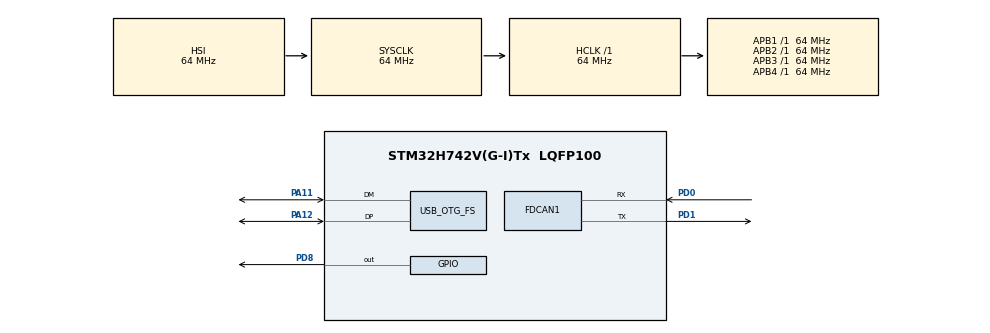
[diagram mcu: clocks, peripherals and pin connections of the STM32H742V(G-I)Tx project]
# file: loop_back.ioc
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FDCAN1.AutoRetransmission=ENABLE
FDCAN1.CalculateBaudRateNominal=1000000
FDCAN1.CalculateTimeBitNominal=1000
FDCAN1.CalculateTimeQuantumNominal=20.0
FDCAN1.DataPrescaler=10
FDCAN1.DataTimeSeg1=3
FDCAN1.DataTimeSeg2=1
FDCAN1.FrameFormat=FDCAN_FRAME_FD_NO_BRS
FDCAN1.Mode=FDCAN_MODE_NORMAL
FDCAN1.NominalPrescaler=1
FDCAN1.NominalSyncJumpWidth=7
FDCAN1.NominalTimeSeg1=42
FDCAN1.NominalTimeSeg2=7
FDCAN1.RxFifo0ElmtSize=FDCAN_DATA_BYTES_12
FDCAN1.RxFifo0ElmtsNbr=64
FDCAN1.StdFiltersNbr=1
FDCAN1.TxBuffersNbr=0
FDCAN1.TxElmtSize=FDCAN_DATA_BYTES_12
FDCAN1.TxFifoQueueElmtsNbr=1
Mcu.Family=STM32H7
Mcu.Name=STM32H742V(G-I)Tx
Mcu.Package=LQFP100
NVIC.FDCAN1_IT0_IRQn=true\:0\:0\:false\:false\:true\:true\:true\:true
NVIC.FDCAN1_IT1_IRQn=true\:0\:0\:false\:false\:true\:true\:true\:true
NVIC.OTG_FS_IRQn=true\:0\:0\:false\:false\:true\:false\:true\:true
NVIC.PriorityGroup=NVIC_PRIORITYGROUP_4
NVIC.TIM8_TRG_COM_TIM14_IRQn=true\:0\:0\:false\:false\:true\:true\:true\:true
PA11.Mode=Device_Only
PA11.Signal=USB_OTG_FS_DM
PA12.Mode=Device_Only
PA12.Signal=USB_OTG_FS_DP
PC14-OSC32_IN\ (OSC32_IN).Mode=LSE-External-Oscillator
PC14-OSC32_IN\ (OSC32_IN).Signal=RCC_OSC32_IN
PC15-OSC32_OUT\ (OSC32_OUT).Mode=LSE-External-Oscillator
PC15-OSC32_OUT\ (OSC32_OUT).Signal=RCC_OSC32_OUT
PD0.Mode=FDCAN_Activate
PD0.Signal=FDCAN1_RX
PD1.Mode=FDCAN_Activate
PD1.Signal=FDCAN1_TX
PD8.Signal=GPIO_Output
PH0-OSC_IN\ (PH0).Mode=HSE-External-Oscillator
PH0-OSC_IN\ (PH0).Signal=RCC_OSC_IN
PH1-OSC_OUT\ (PH1).Mode=HSE-External-Oscillator
PH1-OSC_OUT\ (PH1).Signal=RCC_OSC_OUT
ProjectManager.HeapSize=0x200
ProjectManager.StackSize=0x400
ProjectManager.TargetToolchain=STM32CubeIDE
RCC.ADCFreq_Value=50390625
RCC.APB1Freq_Value=64000000
RCC.APB2Freq_Value=64000000
RCC.APB3Freq_Value=64000000
RCC.APB4Freq_Value=64000000
RCC.CortexFreq_Value=64000000
RCC.DIVM1=2
RCC.DIVN1=12
RCC.DIVQ1=3
RCC.HCLKFreq_Value=64000000
RCC.HSE_VALUE=25000000
RCC.PLL2FRACN=0
RCC.PLL3FRACN=0
RCC.PLLFRACN=0
RCC.PLLSourceVirtual=RCC_PLLSOURCE_HSE
RCC.SYSCLKFreq_VALUE=64000000
RCC.USBCLockSelection=RCC_USBCLKSOURCE_HSI48
RCC.USBFreq_Value=48000000
TIM14.Period=1000
TIM14.Prescaler=63
USB_DEVICE.CLASS_NAME_FS=CDC
USB_DEVICE.PRODUCT_STRING_CDC_FS=STM32 Virtual Port
USB_DEVICE.VirtualMode-CDC_FS=Cdc
USB_DEVICE.VirtualModeFS=Cdc_FS
USB_OTG_FS.VirtualMode=Device_Only
VP_RNG_VS_RNG.Mode=RNG_Activate
VP_TIM14_VS_ClockSourceINT.Mode=Enable_Timer
VP_USB_DEVICE_VS_USB_DEVICE_CDC_FS.Mode=CDC_FS
board=custom

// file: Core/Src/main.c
/* USER CODE BEGIN Header */
/**
  ******************************************************************************
  * @file           : main.c
  * @brief          : Main program body
  ******************************************************************************
  * @attention
  *
  * Copyright (c) 2024 STMicroelectronics.
  * All rights reserved.
  *
  * This software is licensed under terms that can be found in the LICENSE file
  * in the root directory of this software component.
  * If no LICENSE file comes with this software, it is provided AS-IS.
  *
  ******************************************************************************
  */
/* USER CODE END Header */
#include "main.h"
#include "usb_device.h"

/* USER CODE BEGIN Includes */
#include <stdio.h>
#include <stdlib.h>
#include <time.h>
#include "CO_app_STM32.h"
#include "CANopen.h"
#include "OD.h"
#include "../CANopenNode/301/CO_driver.h"

#include "CO_app_user.h"
#include "usb_cdc.h"
/* USER CODE END Includes */

FDCAN_HandleTypeDef hfdcan1;

RNG_HandleTypeDef hrng;

TIM_HandleTypeDef htim14;

void SystemClock_Config(void);
static void MX_GPIO_Init(void);
static void MX_FDCAN1_Init(void);
static void MX_TIM14_Init(void);
static void MX_RNG_Init(void);

/* USER CODE BEGIN 0 */
char usb_buffer[100];
uint8_t usb_len;
uint8_t usb_flag= 0;

uint32_t tmp = 0x00;
uint8_t amount_read = 0;
/* Timer interrupt function executes every 1 ms */
void
HAL_TIM_PeriodElapsedCallback(TIM_HandleTypeDef* htim) {
    if (htim == canopenNodeSTM32->timerHandle) {
        canopen_app_interrupt();
    }
}

void HAL_FDCAN_RxFifo0Callback(FDCAN_HandleTypeDef* hfdcan, uint32_t RxFifo0ITs);
/* USER CODE END 0 */

int main(void)
{

  /* MCU Configuration--------------------------------------------------------*/

  /* Reset of all peripherals, Initializes the Flash interface and the Systick. */
  HAL_Init();

  /* Configure the system clock */
  SystemClock_Config();

  /* Initialize all configured peripherals */
  MX_GPIO_Init();
  MX_FDCAN1_Init();
  MX_TIM14_Init();
  MX_RNG_Init();
  MX_USB_DEVICE_Init();
  /* USER CODE BEGIN 2 */
  CANopenNodeSTM32 canopenNode_1;

  canopen_app_user_init(&canopenNode_1,
  							&hfdcan1,
							&MX_FDCAN1_Init,
							&htim14);

canopen_app_user_config(&canopenNode_1);
//read_SDO(canopenNode_1.canOpenStack->SDOclient, 0x01, 0x1000, 0x00, &tmp, 4, &amount_read);
//HAL_Delay(30);
//read_SDO(canopenNode_1.canOpenStack->SDOclient, 2, 0x6081, 0x00	, &tmp, 4, &amount_read);
//HAL_Delay(30);
//read_SDO(canopenNode_1.canOpenStack->SDOclient, 1, 0x6060, 0x00	, &tmp, 1, &amount_read);
//HAL_Delay(30);
  /* USER CODE END 2 */

  /* Infinite loop */
  while (1)
  {

    /* USER CODE BEGIN 3 */
	  canopen_app_process();
	  CO_PDO_execute(&canopenNode_1);

//	  HAL_GPIO_TogglePin(GPIOD, GPIO_PIN_8);
//	  response_print("number: %d %s\n", 23, "hieu");
//	  response_print("number: %d %s\n", 24, "vu minh hieu");
//	  response_print("number: %d %s\n", 23, "hieu");
//	  response_print("number: %d %s\n", 24, "vu minh hieu");
  }
  /* USER CODE END 3 */
}

void SystemClock_Config(void)
{
  RCC_OscInitTypeDef RCC_OscInitStruct = {0};
  RCC_ClkInitTypeDef RCC_ClkInitStruct = {0};

  /** Supply configuration update enable
  */
  HAL_PWREx_ConfigSupply(PWR_LDO_SUPPLY);

  /** Configure the main internal regulator output voltage
  */
  __HAL_PWR_VOLTAGESCALING_CONFIG(PWR_REGULATOR_VOLTAGE_SCALE3);

  while(!__HAL_PWR_GET_FLAG(PWR_FLAG_VOSRDY)) {}

  /** Initializes the RCC Oscillators according to the specified parameters
  * in the RCC_OscInitTypeDef structure.
  */
  RCC_OscInitStruct.OscillatorType = RCC_OSCILLATORTYPE_HSI48|RCC_OSCILLATORTYPE_HSI
                              |RCC_OSCILLATORTYPE_HSE;
  RCC_OscInitStruct.HSEState = RCC_HSE_ON;
  RCC_OscInitStruct.HSIState = RCC_HSI_DIV1;
  RCC_OscInitStruct.HSICalibrationValue = RCC_HSICALIBRATION_DEFAULT;
  RCC_OscInitStruct.HSI48State = RCC_HSI48_ON;
  RCC_OscInitStruct.PLL.PLLState = RCC_PLL_ON;
  RCC_OscInitStruct.PLL.PLLSource = RCC_PLLSOURCE_HSE;
  RCC_OscInitStruct.PLL.PLLM = 2;
  RCC_OscInitStruct.PLL.PLLN = 12;
  RCC_OscInitStruct.PLL.PLLP = 2;
  RCC_OscInitStruct.PLL.PLLQ = 3;
  RCC_OscInitStruct.PLL.PLLR = 2;
  RCC_OscInitStruct.PLL.PLLRGE = RCC_PLL1VCIRANGE_3;
  RCC_OscInitStruct.PLL.PLLVCOSEL = RCC_PLL1VCOMEDIUM;
  RCC_OscInitStruct.PLL.PLLFRACN = 0;
  if (HAL_RCC_OscConfig(&RCC_OscInitStruct) != HAL_OK)
  {
    Error_Handler();
  }

  /** Initializes the CPU, AHB and APB buses clocks
  */
  RCC_ClkInitStruct.ClockType = RCC_CLOCKTYPE_HCLK|RCC_CLOCKTYPE_SYSCLK
                              |RCC_CLOCKTYPE_PCLK1|RCC_CLOCKTYPE_PCLK2
                              |RCC_CLOCKTYPE_D3PCLK1|RCC_CLOCKTYPE_D1PCLK1;
  RCC_ClkInitStruct.SYSCLKSource = RCC_SYSCLKSOURCE_HSI;
  RCC_ClkInitStruct.SYSCLKDivider = RCC_SYSCLK_DIV1;
  RCC_ClkInitStruct.AHBCLKDivider = RCC_HCLK_DIV1;
  RCC_ClkInitStruct.APB3CLKDivider = RCC_APB3_DIV1;
  RCC_ClkInitStruct.APB1CLKDivider = RCC_APB1_DIV1;
  RCC_ClkInitStruct.APB2CLKDivider = RCC_APB2_DIV1;
  RCC_ClkInitStruct.APB4CLKDivider = RCC_APB4_DIV1;

  if (HAL_RCC_ClockConfig(&RCC_ClkInitStruct, FLASH_LATENCY_1) != HAL_OK)
  {
    Error_Handler();
  }
}

static void MX_FDCAN1_Init(void)
{

  hfdcan1.Instance = FDCAN1;
  hfdcan1.Init.FrameFormat = FDCAN_FRAME_FD_NO_BRS;
  hfdcan1.Init.Mode = FDCAN_MODE_NORMAL;
  hfdcan1.Init.AutoRetransmission = ENABLE;
  hfdcan1.Init.TransmitPause = DISABLE;
  hfdcan1.Init.ProtocolException = DISABLE;
  hfdcan1.Init.NominalPrescaler = 1;
  hfdcan1.Init.NominalSyncJumpWidth = 7;
  hfdcan1.Init.NominalTimeSeg1 = 42;
  hfdcan1.Init.NominalTimeSeg2 = 7;
  hfdcan1.Init.DataPrescaler = 10;
  hfdcan1.Init.DataSyncJumpWidth = 1;
  hfdcan1.Init.DataTimeSeg1 = 3;
  hfdcan1.Init.DataTimeSeg2 = 1;
  hfdcan1.Init.MessageRAMOffset = 0;
  hfdcan1.Init.StdFiltersNbr = 1;
  hfdcan1.Init.ExtFiltersNbr = 0;
  hfdcan1.Init.RxFifo0ElmtsNbr = 64;
  hfdcan1.Init.RxFifo0ElmtSize = FDCAN_DATA_BYTES_12;
  hfdcan1.Init.RxFifo1ElmtsNbr = 0;
  hfdcan1.Init.RxFifo1ElmtSize = FDCAN_DATA_BYTES_8;
  hfdcan1.Init.RxBuffersNbr = 0;
  hfdcan1.Init.RxBufferSize = FDCAN_DATA_BYTES_8;
  hfdcan1.Init.TxEventsNbr = 0;
  hfdcan1.Init.TxBuffersNbr = 0;
  hfdcan1.Init.TxFifoQueueElmtsNbr = 1;
  hfdcan1.Init.TxFifoQueueMode = FDCAN_TX_FIFO_OPERATION;
  hfdcan1.Init.TxElmtSize = FDCAN_DATA_BYTES_12;
  if (HAL_FDCAN_Init(&hfdcan1) != HAL_OK)
  {
    Error_Handler();
  }
  /* USER CODE BEGIN FDCAN1_Init 2 */
FDCAN_FilterTypeDef sFilterConfig;

  sFilterConfig.IdType = FDCAN_STANDARD_ID;
  sFilterConfig.FilterIndex = 0;
  sFilterConfig.FilterType = FDCAN_FILTER_MASK;
  sFilterConfig.FilterConfig = FDCAN_FILTER_DISABLE; //FDCAN_FILTER_TO_RXFIFO0
  sFilterConfig.FilterID1 = 0x0;
  sFilterConfig.FilterID2 = 0x7FF;
  sFilterConfig.RxBufferIndex = 0;
  if (HAL_FDCAN_ConfigFilter(&hfdcan1, &sFilterConfig) != HAL_OK)
  {
    /* Filter configuration Error */
    Error_Handler();
  }
  /* USER CODE END FDCAN1_Init 2 */

}

static void MX_RNG_Init(void)
{

  hrng.Instance = RNG;
  hrng.Init.ClockErrorDetection = RNG_CED_ENABLE;
  if (HAL_RNG_Init(&hrng) != HAL_OK)
  {
    Error_Handler();
  }

}

static void MX_TIM14_Init(void)
{

  htim14.Instance = TIM14;
  htim14.Init.Prescaler = 63;
  htim14.Init.CounterMode = TIM_COUNTERMODE_UP;
  htim14.Init.Period = 1000;
  htim14.Init.ClockDivision = TIM_CLOCKDIVISION_DIV1;
  htim14.Init.AutoReloadPreload = TIM_AUTORELOAD_PRELOAD_DISABLE;
  if (HAL_TIM_Base_Init(&htim14) != HAL_OK)
  {
    Error_Handler();
  }

}

static void MX_GPIO_Init(void)
{
  GPIO_InitTypeDef GPIO_InitStruct = {0};

  /* GPIO Ports Clock Enable */
  __HAL_RCC_GPIOC_CLK_ENABLE();
  __HAL_RCC_GPIOH_CLK_ENABLE();
  __HAL_RCC_GPIOD_CLK_ENABLE();
  __HAL_RCC_GPIOA_CLK_ENABLE();

  /*Configure GPIO pin Output Level */
  HAL_GPIO_WritePin(GPIOD, GPIO_PIN_8, GPIO_PIN_RESET);

  /*Configure GPIO pin : PD8 */
  GPIO_InitStruct.Pin = GPIO_PIN_8;
  GPIO_InitStruct.Mode = GPIO_MODE_OUTPUT_PP;
  GPIO_InitStruct.Pull = GPIO_NOPULL;
  GPIO_InitStruct.Speed = GPIO_SPEED_FREQ_LOW;
  HAL_GPIO_Init(GPIOD, &GPIO_InitStruct);

}

void Error_Handler(void)
{
  __disable_irq();
  while (1)
  {
  }
}
